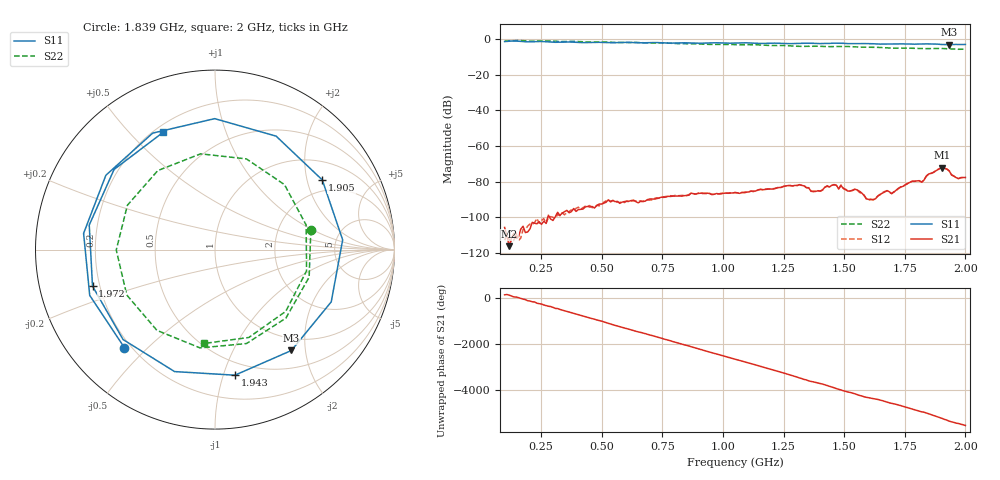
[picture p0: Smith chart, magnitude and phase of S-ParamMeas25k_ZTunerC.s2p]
!Keysight Technologies,N5242B,MY48420967,A.15.65.19
!Date: Monday, December 19, 2022 09:39:11
!Correction: S11(C  2-Port  )
!S21(C  2-Port  )
!S12(C  2-Port  )
!S22(C  2-Port  )
!S2P File: Measurements: S11, S21, S12, S22:
# Hz S  dB  R 50
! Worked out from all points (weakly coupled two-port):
!   201 points, 100 MHz to 2 GHz, reference 50 ohm
!   highest |S21| = -72.20 dB at 1.905 GHz (marker M1); lowest = -116.3 dB at 119 MHz (marker M2)
!   lowest |S11| = -3.0 dB at 1.933 GHz (marker M3), VSWR 5.78, Z = 38.9 - j87.1 ohm
!   |S11| at or under -10 dB: nowhere
!   |S22| runs from -5.6 to -0.7 dB; largest |S21 - S12| = 5.2e-06
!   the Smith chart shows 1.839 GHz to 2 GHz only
!   S11 on the Smith chart (normalised r, x): 1.839 GHz: 0.17, -0.43; 1.905 GHz: 1.58, +2.48; 1.943 GHz: 0.39, -1.09; 1.972 GHz: 0.17, -0.14; 2 GHz: 0.23, +0.63
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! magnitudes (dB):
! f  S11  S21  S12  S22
! 100 MHz  -1.3  -105.7  -112.9  -1.0
! 119 MHz  -1.0  -116.3  -112.4  -0.8
! 423 MHz  -1.9  -95.4  -94.6  -1.4
! 736.5 MHz  -1.9  -89.2  -89.4  -2.1
! 1.05 GHz  -2.1  -86.1  -86.1  -3.0
! 1.373 GHz  -2.3  -85.5  -85.6  -3.9
! 1.687 GHz  -2.7  -85.7  -85.9  -4.9
! 1.772 GHz  -2.7  -80.3  -80.2  -5.0
! 1.81 GHz  -2.7  -79.5  -79.5  -5.2
! 1.819 GHz  -2.7  -80.3  -80.3  -5.2
! 1.829 GHz  -2.6  -79.1  -79.1  -5.3
! 1.839 GHz  -2.6  -77.0  -76.9  -5.3
! 1.848 GHz  -2.6  -75.8  -75.8  -5.2
! 1.867 GHz  -2.7  -74.9  -74.9  -5.2
! 1.895 GHz  -2.9  -72.6  -72.5  -5.1
! 1.905 GHz  -2.9  -72.2  -72.1  -5.2
! 1.924 GHz  -3.0  -73.0  -73.0  -5.3
! 1.933 GHz  -3.0  -74.0  -74.0  -5.4
! 1.943 GHz  -3.0  -76.2  -76.2  -5.4
! 1.972 GHz  -2.9  -78.3  -78.2  -5.6
! 1.981 GHz  -2.9  -77.8  -77.8  -5.6
! 2 GHz  -2.9  -77.7  -77.6  -5.6
